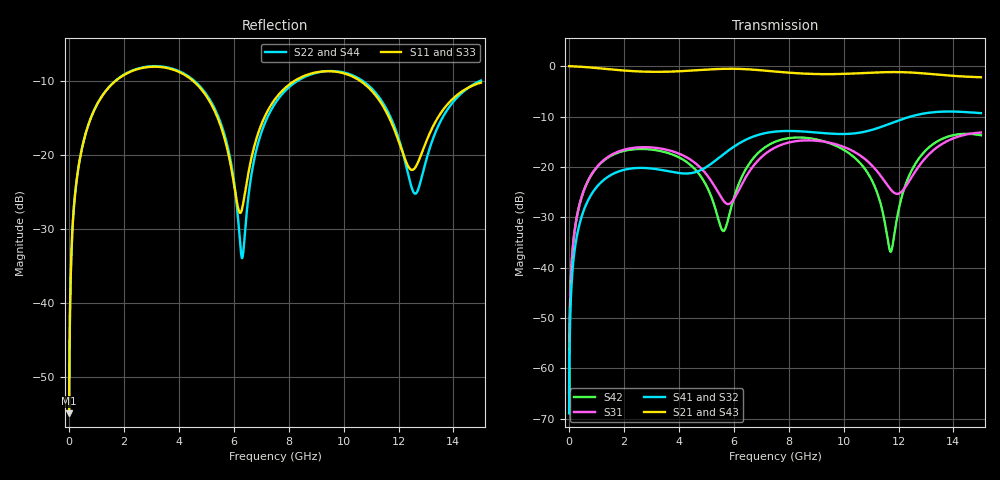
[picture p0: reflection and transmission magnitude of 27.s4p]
! Created with skrf 1.8.0 (http://scikit-rf.org).
# GHz S RI R 50.0
!freq ReS11 ImS11 ReS12 ImS12 ReS13 ImS13
! ReS14 ImS14
! ReS21 ImS21 ReS22 ImS22 ReS23 ImS23
! ReS24 ImS24
! ReS31 ImS31 ReS32 ImS32 ReS33 ImS33
! ReS34 ImS34
! ReS41 ImS41 ReS42 ImS42 ReS43 ImS43
! ReS44 ImS44
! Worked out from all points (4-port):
!   2499 points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, 5 MHz to 15 GHz, reference 50 ohm
!   strongest paths, dB at 5 MHz, 3.476 GHz, 7.19 GHz, 11.1 GHz, 15 GHz:
!     S21: 0.0, -1.1, -0.9, -1.3, -2.2
!     S43: 0.0, -1.1, -0.9, -1.3, -2.2
!     S41: -68.9, -20.7, -13.3, -12.5, -9.3
!     S32: -68.9, -20.7, -13.2, -12.6, -9.3
!     S31: -65.0, -16.5, -17.2, -20.1, -13.2
!     S42: -65.0, -17.0, -15.9, -23.4, -13.7
!   lowest |S11| = -54.9 dB at 5 MHz (marker M1), VSWR 1.00, Z = 50.1 + j0.109 ohm
!   |S11| at or under -10 dB: start of sweep to 1.704 GHz; 4.512 GHz to 8.221 GHz (3.709 GHz wide, 58.3 % of centre); 10.6 GHz to end of sweep
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0.005  0.00143 0.00109  0.9985 -0.00279  7.12e-05 0.000561  -6.92e-05 -0.000352
       0.9985 -0.00279  0.00143 0.00109  -6.92e-05 -0.000352  7.11e-05 0.000561
       7.12e-05 0.000561  -6.92e-05 -0.000352  0.00143 0.00109  0.9985 -0.00279
       -6.92e-05 -0.000352  7.11e-05 0.000561  0.9985 -0.00279  0.00143 0.00109
0.3126303  0.0191 0.0726  0.9739 -0.1746  0.00879 0.0337  -0.0071 -0.0211
           0.9739 -0.1746  0.0192 0.0726  -0.0071 -0.0211  0.00821 0.0338
           0.00879 0.0337  -0.0071 -0.0211  0.0191 0.0726  0.9739 -0.1746
           -0.0071 -0.0211  0.00821 0.0338  0.9739 -0.1746  0.0192 0.0725
1.569404  0.232 0.1908  0.6257 -0.6813  0.1162 0.0645  -0.0823 -0.0183
          0.6257 -0.6813  0.2346 0.1894  -0.0823 -0.0183  0.1076 0.074
          0.1162 0.0645  -0.0823 -0.0183  0.232 0.1908  0.6257 -0.6813
          -0.0823 -0.0183  0.1076 0.074  0.6257 -0.6813  0.2347 0.1894
6.065027  0.0424 -0.0347  -0.9266 -0.1594  -0.0388 0.0332  -0.0252 0.1607
          -0.9266 -0.1594  0.0231 -0.0498  -0.0252 0.1608  0.0255 0.0491
          -0.0388 0.0332  -0.0252 0.1608  0.042 -0.0355  -0.9265 -0.1593
          -0.0252 0.1607  0.0255 0.0491  -0.9265 -0.1593  0.0239 -0.0504
9.747812  0.3606 -0.0435  0.0165 0.8339  0.1364 -0.0961  0.2012 -0.0682
          0.0165 0.8339  0.364 -0.04  0.2011 -0.0682  0.141 -0.0771
          0.1364 -0.0961  0.2011 -0.0682  0.3609 -0.0444  0.0173 0.8336
          0.2012 -0.0682  0.141 -0.0771  0.0173 0.8336  0.3646 -0.0398
11.71113  0.1242 -0.116  0.7229 0.4886  -0.0495 -0.0337  0.1448 -0.2279
          0.7229 0.4886  0.1155 -0.1371  0.1453 -0.2277  -0.0139 -0.00343
          -0.0495 -0.0337  0.1453 -0.2277  0.1211 -0.1183  0.7236 0.4874
          0.1448 -0.2279  -0.0139 -0.00343  0.7236 0.4874  0.1188 -0.1357
15  0.3007 0.0627  0.4089 -0.6592  0.2138 -0.0487  -0.3236 -0.1091
    0.4089 -0.6592  0.3036 0.0924  -0.3251 -0.1096  0.206 -0.00147
    0.2138 -0.0487  -0.3251 -0.1096  0.3012 0.0692  0.4053 -0.6596
    -0.3236 -0.1091  0.206 -0.00147  0.4053 -0.6596  0.3114 0.087
